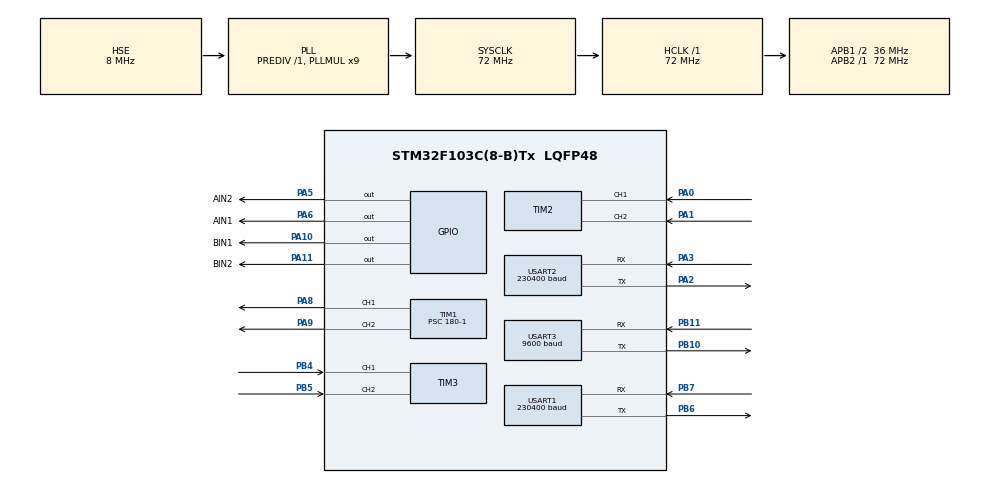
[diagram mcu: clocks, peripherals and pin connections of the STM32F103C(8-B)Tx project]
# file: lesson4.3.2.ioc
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Dma.Request0=USART3_RX
Dma.Request1=USART3_TX
Dma.USART3_RX.0.Direction=DMA_PERIPH_TO_MEMORY
Dma.USART3_RX.0.Instance=DMA1_Channel3
Dma.USART3_RX.0.MemDataAlignment=DMA_MDATAALIGN_BYTE
Dma.USART3_RX.0.MemInc=DMA_MINC_ENABLE
Dma.USART3_RX.0.Mode=DMA_NORMAL
Dma.USART3_RX.0.PeriphDataAlignment=DMA_PDATAALIGN_BYTE
Dma.USART3_RX.0.PeriphInc=DMA_PINC_DISABLE
Dma.USART3_RX.0.Priority=DMA_PRIORITY_LOW
Dma.USART3_TX.1.Direction=DMA_MEMORY_TO_PERIPH
Dma.USART3_TX.1.Instance=DMA1_Channel2
Dma.USART3_TX.1.MemDataAlignment=DMA_MDATAALIGN_BYTE
Dma.USART3_TX.1.MemInc=DMA_MINC_ENABLE
Dma.USART3_TX.1.Mode=DMA_NORMAL
Dma.USART3_TX.1.PeriphDataAlignment=DMA_PDATAALIGN_BYTE
Dma.USART3_TX.1.PeriphInc=DMA_PINC_DISABLE
Dma.USART3_TX.1.Priority=DMA_PRIORITY_LOW
Mcu.Family=STM32F1
Mcu.Name=STM32F103C(8-B)Tx
Mcu.Package=LQFP48
NVIC.DMA1_Channel2_IRQn=true\:0\:0\:false\:false\:true\:false\:true\:true
NVIC.DMA1_Channel3_IRQn=true\:0\:0\:false\:false\:true\:false\:true\:true
NVIC.PriorityGroup=NVIC_PRIORITYGROUP_4
NVIC.TIM1_UP_IRQn=true\:2\:0\:true\:false\:true\:true\:true\:true
NVIC.TIM2_IRQn=true\:2\:0\:true\:false\:true\:true\:true\:true
NVIC.TIM3_IRQn=true\:2\:0\:true\:false\:true\:true\:true\:true
NVIC.USART1_IRQn=true\:1\:0\:true\:false\:true\:true\:true\:true
NVIC.USART2_IRQn=true\:1\:0\:true\:false\:true\:true\:true\:true
NVIC.USART3_IRQn=true\:0\:0\:true\:false\:true\:true\:true\:true
PA0-WKUP.Signal=S_TIM2_CH1_ETR
PA1.Signal=S_TIM2_CH2
PA10.GPIO_Label=BIN1
PA10.Signal=GPIO_Output
PA11.GPIO_Label=BIN2
PA11.Signal=GPIO_Output
PA13.Mode=Serial_Wire
PA13.Signal=SYS_JTMS-SWDIO
PA14.Mode=Serial_Wire
PA14.Signal=SYS_JTCK-SWCLK
PA2.Mode=Asynchronous
PA2.Signal=USART2_TX
PA3.Mode=Asynchronous
PA3.Signal=USART2_RX
PA5.GPIO_Label=AIN2
PA5.Signal=GPIO_Output
PA6.GPIO_Label=AIN1
PA6.Signal=GPIO_Output
PA8.Signal=S_TIM1_CH1
PA9.Signal=S_TIM1_CH2
PB10.GPIO_Speed=GPIO_SPEED_FREQ_MEDIUM
PB10.Mode=Asynchronous
PB10.Signal=USART3_TX
PB11.Mode=Asynchronous
PB11.Signal=USART3_RX
PB4.Signal=S_TIM3_CH1
PB5.Signal=S_TIM3_CH2
PB6.Mode=Asynchronous
PB6.Signal=USART1_TX
PB7.Mode=Asynchronous
PB7.Signal=USART1_RX
PD0-OSC_IN.Mode=HSE-External-Oscillator
PD0-OSC_IN.Signal=RCC_OSC_IN
PD1-OSC_OUT.Mode=HSE-External-Oscillator
PD1-OSC_OUT.Signal=RCC_OSC_OUT
ProjectManager.HeapSize=0x200
ProjectManager.StackSize=0x400
ProjectManager.TargetToolchain=MDK-ARM V5.32
RCC.AHBFreq_Value=72000000
RCC.APB1CLKDivider=RCC_HCLK_DIV2
RCC.APB1Freq_Value=36000000
RCC.APB1TimFreq_Value=72000000
RCC.APB2Freq_Value=72000000
RCC.APB2TimFreq_Value=72000000
RCC.HCLKFreq_Value=72000000
RCC.PLLMUL=RCC_PLL_MUL9
RCC.PLLSourceVirtual=RCC_PLLSOURCE_HSE
RCC.SYSCLKFreq_VALUE=72000000
RCC.SYSCLKSource=RCC_SYSCLKSOURCE_PLLCLK
RCC.USBFreq_Value=72000000
SH.S_TIM1_CH1.0=TIM1_CH1,PWM Generation1 CH1
SH.S_TIM1_CH2.0=TIM1_CH2,PWM Generation2 CH2
SH.S_TIM2_CH1_ETR.0=TIM2_CH1,Encoder_Interface
SH.S_TIM2_CH2.0=TIM2_CH2,Encoder_Interface
SH.S_TIM3_CH1.0=TIM3_CH1,Encoder_Interface
SH.S_TIM3_CH2.0=TIM3_CH2,Encoder_Interface
TIM1.Channel-PWM\ Generation1\ CH1=TIM_CHANNEL_1
TIM1.Channel-PWM\ Generation2\ CH2=TIM_CHANNEL_2
TIM1.Period=1000-1
TIM1.Prescaler=180-1
TIM2.EncoderMode=TIM_ENCODERMODE_TI12
TIM3.EncoderMode=TIM_ENCODERMODE_TI12
USART1.BaudRate=230400
USART1.VirtualMode=VM_ASYNC
USART2.BaudRate=230400
USART2.VirtualMode=VM_ASYNC
USART3.BaudRate=9600
USART3.StopBits=STOPBITS_2
USART3.VirtualMode=VM_ASYNC
VP_TIM1_VS_ClockSourceINT.Mode=Internal
board=custom

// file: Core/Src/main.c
/* USER CODE BEGIN Header */
/**
  ******************************************************************************
  * @file           : main.c
  * @brief          : Main program body
  ******************************************************************************
  * @attention
  *
  * Copyright (c) 2024 STMicroelectronics.
  * All rights reserved.
  *
  * This software is licensed under terms that can be found in the LICENSE file
  * in the root directory of this software component.
  * If no LICENSE file comes with this software, it is provided AS-IS.
  *
  ******************************************************************************
  */
/* USER CODE END Header */
#include "main.h"
#include "dma.h"
#include "tim.h"
#include "usart.h"
#include "gpio.h"

/* USER CODE BEGIN Includes */
#include "stdlib.h"
#include "string.h"
#include "ctype.h"
#include "PID.h"
#include "motor.h"
#include "stp_23l.h"
#include "lidar_processing.h"
/* USER CODE END Includes */

/* USER CODE BEGIN PM */
#define WHEEL_DIAMETER 5.5
#define PI 3.14159265358
/* USER CODE END PM */

/* USER CODE BEGIN PV */

uint8_t tail[4] = {0x00,0x00,0x80,0x7f};
float data[4];
extern int wflag1,wflag2,endflag,startflag,once_transmit_flag,correct_enable;
extern double distance_traveled1,start_position1;
extern double distance_traveled2,start_position2;
uint8_t receive_flag = '0';
uint8_t receiveData[10];
volatile double ref;
volatile static double last_ref = 200.0; // 直接把要用到的距离“上次目标值”设置为场地中心位置
volatile double delta_cm;
double ref1;
motor_data motor1;
motor_data motor2;
double pfdb;
char arr[6];
int rxindex=0;
// 这里是给HAL库使用的单字节接收缓冲
uint8_t stp_Receive_buf1[1];
uint8_t stp_Receive_buf2[1];

/* ------------ 超时机制所需变量 ------------ */
uint8_t timeout_enabled = 0;      // 超时功能开关: 1 = 启用, 0 = 禁用
uint32_t timeout_ticks = 1600;    // 超时时间 (单位: TIM1中断次数) 当前TIM1中断周期为2.5ms，设置为1000就是设置超时时间为5000ms
uint32_t movement_timer = 0;      // 运动计时器
/* ---------------------------------------- */
/* USER CODE END PV */

void SystemClock_Config(void);
/* USER CODE BEGIN PFP */
void Lidar_Process(void);
/* USER CODE END PFP */

/* USER CODE BEGIN 0 */
// === 动态超时估算：由 |距离(cm)| 推算秒数，再换成 ticks ===
static inline uint32_t compute_timeout_ticks_cm(double d_cm, int is_end_phase)
{
    // 线性拟合（来自实测）：t = a + b * |d|
    // a 和 b 来自拟合：a≈1.0，b≈0.01
    double t = 1.0 + 0.01 * (d_cm >= 0 ? d_cm : -d_cm);

    // 最小 / 最大保护
    if (t < 1.0) t = 1.0;        // 不少于 1 秒
    if (t > 10.0) t = 10.0;      // 不超过 60 秒（可按需调大）

    // 末段慢速（指令 'e'）可略调裕量
    double margin = is_end_phase ? 1.10 : 1.20;   // 普通段 1.20，末段 1.10（可按实际再调）
    t *= margin;
		t += 0.3; // 再加0.3秒的冗余

    // 秒 -> tick（TIM1: 2.5ms 一次）= 秒 * 400
    uint32_t ticks = (uint32_t)(t * 400.0 + 0.5);

    // 再次做一下保底与上限钳制
    if (ticks < 400)   ticks = 400;    // ≥ 1s
    if (ticks > 4000) ticks = 4000;  // ≤ 10s
    return ticks;
}

void justfloat_output(){
    data[0]=motor2.motor_pid_v.fdb;
    data[1]=motor2.motor_pid_v.ref;
	  data[2]=motor1.motor_pid_v.fdb;
	  data[3]=motor1.motor_pid_v.ref;

    HAL_UART_Transmit(&huart3,(uint8_t*)data,sizeof(float)*4,0xffff);
    HAL_UART_Transmit(&huart3,tail,4,0xffff);
}
/* USER CODE END 0 */

int main(void)
{

  /* MCU Configuration--------------------------------------------------------*/

  /* Reset of all peripherals, Initializes the Flash interface and the Systick. */
  HAL_Init();

  /* Configure the system clock */
  SystemClock_Config();

  /* Initialize all configured peripherals */
  MX_GPIO_Init();
  MX_DMA_Init();
  MX_TIM1_Init();
  MX_TIM2_Init();
  MX_TIM3_Init();
  MX_USART3_UART_Init();
  MX_USART2_UART_Init();
  MX_USART1_UART_Init();
  /* USER CODE BEGIN 2 */

  // 初始化两个电机的数据结构
  motor_init(htim2,htim1,TIM_CHANNEL_1,&motor1);
  motor_init(htim3,htim1,TIM_CHANNEL_2,&motor2);

  // 启动TIM1作为主控制循环的定时器，并开启中断
  HAL_TIM_Base_Start_IT(&htim1);

  // 启动USART3的DMA接收，使用空闲中断(IDLE)来检测一帧数据的结束
  HAL_UARTEx_ReceiveToIdle_DMA(&huart3,receiveData,10);

	// 在main函数中开启启动接收前先使能 UART 错误中断
  __HAL_UART_ENABLE_IT(&huart1, UART_IT_ERR);
	__HAL_UART_ENABLE_IT(&huart2, UART_IT_ERR);

  // 启动USART1和USART2的单字节中断接收，用于处理LiDAR数据流
  HAL_UART_Receive_IT(&huart1,stp_Receive_buf1,sizeof(stp_Receive_buf1));
  HAL_UART_Receive_IT(&huart2,stp_Receive_buf2,sizeof(stp_Receive_buf2));

   __HAL_UART_ENABLE_IT(&huart3, UART_IT_ERR); //加这一句，使能指令接收dma错误中断

  // 禁用DMA的半传输中断，我们只关心整帧完成和空闲中断
  __HAL_DMA_DISABLE_IT(&hdma_usart3_rx,DMA_IT_HT);

  /* USER CODE END 2 */

  /* Infinite loop */
  /* USER CODE BEGIN WHILE */
  while (1)
  {
		// 2. 在主循环中调用新的处理函数
    Lidar_Process();
		set_motor_direction(&motor1,AIN1_GPIO_Port,AIN1_Pin,AIN2_GPIO_Port,AIN2_Pin);
		set_motor_direction(&motor2,BIN1_GPIO_Port,BIN1_Pin,BIN2_GPIO_Port,BIN2_Pin);
		if(receive_flag =='a'){
			// --- 松开刹车，准备新的移动 ---
			set_motor_hold(&motor1, 0);
			set_motor_hold(&motor2, 0);
			// ---------------------------
			wflag1=1;
			wflag2=1;
			correct_enable=0;
			once_transmit_flag=1;
			movement_timer = 0; //复位计时器
			delta_cm = abs(ref - last_ref);
			timeout_ticks = compute_timeout_ticks_cm(delta_cm, /*is_end_phase=*/0); // 计算动态超时
			ref1=ref/WHEEL_DIAMETER/PI;//ref参数单位为cm
		  set_pidp_ref(&motor1,ref1);
		  set_pidp_ref(&motor2,ref1);
			receiveData[0]='0';
			receive_flag='0';
			startflag = 1;
			start_position1 = distance1/10/WHEEL_DIAMETER/PI;
			start_position2 = distance2/10/WHEEL_DIAMETER/PI;
			last_ref = ref;
		}
		if(receive_flag =='e'){//end
			// --- 松开刹车，准备新的移动 ---
			set_motor_hold(&motor1, 0);
			set_motor_hold(&motor2, 0);
			// ---------------------------
			endflag = 1;
			wflag1=1;
			wflag2=1;
			movement_timer = 0; //复位计时器
			delta_cm = abs(ref - last_ref);
			timeout_ticks = compute_timeout_ticks_cm(delta_cm, /*is_end_phase=*/1); // 计算动态超时
			ref1=ref/WHEEL_DIAMETER/PI;//ref参数单位为cm
		  set_pidp_ref(&motor1,ref1);
		  set_pidp_ref(&motor2,ref1);
			receiveData[0]='0';
			receive_flag='0';
			last_ref = ref;
		}
    /* USER CODE END WHILE */

  }
}

void SystemClock_Config(void)
{
  RCC_OscInitTypeDef RCC_OscInitStruct = {0};
  RCC_ClkInitTypeDef RCC_ClkInitStruct = {0};

  /** Initializes the RCC Oscillators according to the specified parameters
  * in the RCC_OscInitTypeDef structure.
  */
  RCC_OscInitStruct.OscillatorType = RCC_OSCILLATORTYPE_HSE;
  RCC_OscInitStruct.HSEState = RCC_HSE_ON;
  RCC_OscInitStruct.HSEPredivValue = RCC_HSE_PREDIV_DIV1;
  RCC_OscInitStruct.HSIState = RCC_HSI_ON;
  RCC_OscInitStruct.PLL.PLLState = RCC_PLL_ON;
  RCC_OscInitStruct.PLL.PLLSource = RCC_PLLSOURCE_HSE;
  RCC_OscInitStruct.PLL.PLLMUL = RCC_PLL_MUL9;
  if (HAL_RCC_OscConfig(&RCC_OscInitStruct) != HAL_OK)
  {
    Error_Handler();
  }

  /** Initializes the CPU, AHB and APB buses clocks
  */
  RCC_ClkInitStruct.ClockType = RCC_CLOCKTYPE_HCLK|RCC_CLOCKTYPE_SYSCLK
                              |RCC_CLOCKTYPE_PCLK1|RCC_CLOCKTYPE_PCLK2;
  RCC_ClkInitStruct.SYSCLKSource = RCC_SYSCLKSOURCE_PLLCLK;
  RCC_ClkInitStruct.AHBCLKDivider = RCC_SYSCLK_DIV1;
  RCC_ClkInitStruct.APB1CLKDivider = RCC_HCLK_DIV2;
  RCC_ClkInitStruct.APB2CLKDivider = RCC_HCLK_DIV1;

  if (HAL_RCC_ClockConfig(&RCC_ClkInitStruct, FLASH_LATENCY_2) != HAL_OK)
  {
    Error_Handler();
  }
}

/* USER CODE BEGIN 4 */
void HAL_TIM_PeriodElapsedCallback(TIM_HandleTypeDef *htim){
	if(htim==&htim1){
		motor_pid_control();
//		justfloat_output();
	}
}
void HAL_UARTEx_RxEventCallback(UART_HandleTypeDef* huart, uint16_t Size)
{
	if(huart->Instance == USART3)
	{
		// --- 1. 对接收长度进行基础验证 ---
		// 至少需要2个字节 (例如: 'a' + '0') 才能构成一条有效指令
		if (Size < 2)
		{
			// 长度不足，认为是无效数据，直接准备下一次接收
			HAL_UARTEx_ReceiveToIdle_DMA(&huart3, receiveData, 10);
			__HAL_DMA_DISABLE_IT(&hdma_usart3_rx, DMA_IT_HT);
			return;
		}

		// --- 2. 手动添加字符串结束符 '\0' ---
		// 这是解决问题的关键步骤，确保atof等字符串函数不会读到缓冲区里的旧数据
		// Size 是接收到的字节数，所以我们将结束符放在 receiveData[Size] 的位置
        // 同时要防止越界，虽然Size理论上不会超过10
		if (Size < 10)
		{
			receiveData[Size] = '\0';
		}
		else
		{
			receiveData[9] = '\0'; // 缓冲区满了，强制在末尾加结束符
		}

		// --- 3. 解析指令和数据 ---
		char command = receiveData[0]; // 第一个字节是指令

		// 检查是否为我们支持的指令
		if(command == 'a' || command == 'e')
		{
			// 指令有效，才进行后续操作
			// 将指令后的部分 (&receiveData[1]) 转换为浮点数
			double parsed_value = atof((const char *)&receiveData[1]);

			// 更新全局变量，传递指令和目标值
			ref = parsed_value;
			receive_flag = command; // receive_flag现在在主循环中触发电机运动
		}
		// 如果指令不是 'a' 或 'e'，则忽略这条消息，不进行任何操作

		// --- 4. 重新启动DMA空闲中断接收 ---
		// 为下一次数据接收做准备
		HAL_UARTEx_ReceiveToIdle_DMA(&huart3, receiveData, 10);
		__HAL_DMA_DISABLE_IT(&hdma_usart3_rx, DMA_IT_HT);
	}
}

void HAL_UART_RxCpltCallback(UART_HandleTypeDef *huart)
{
    if (huart->Instance == USART1)
    {
        // 将接收到的数据存入环形缓冲区1
        uint16_t next_head = (uart1_rx_buffer.head + 1) % 256;
        if (next_head != uart1_rx_buffer.tail) { // 防止缓冲区写满
            uart1_rx_buffer.buffer[uart1_rx_buffer.head] = stp_Receive_buf1[0];
            uart1_rx_buffer.head = next_head;
        }
        // 立即重新启动中断，准备接收下一个字节
        HAL_UART_Receive_IT(&huart1, stp_Receive_buf1, 1);
    }
    else if (huart->Instance == USART2)
    {
        // 将接收到的数据存入环形缓冲区2
        uint16_t next_head = (uart2_rx_buffer.head + 1) % 256;
        if (next_head != uart2_rx_buffer.tail) { // 防止缓冲区写满
            uart2_rx_buffer.buffer[uart2_rx_buffer.head] = stp_Receive_buf2[0];
            uart2_rx_buffer.head = next_head;
        }
        // 立即重新启动中断，准备接收下一个字节
        HAL_UART_Receive_IT(&huart2, stp_Receive_buf2, 1);
    }
}

// HAL 库的错误回调
void HAL_UART_ErrorCallback(UART_HandleTypeDef *huart)
{
    if (huart->Instance == USART1)
    {
        // 逐个清除错误标志
        __HAL_UART_CLEAR_PEFLAG(huart);
        __HAL_UART_CLEAR_FEFLAG(huart);
        __HAL_UART_CLEAR_NEFLAG(huart);
        __HAL_UART_CLEAR_OREFLAG(huart);

        // 重新打开接收
        HAL_UART_Receive_IT(&huart1, stp_Receive_buf1, sizeof(stp_Receive_buf1)); //需要修改各个参数
    }
		if (huart->Instance == USART2)
    {
        // 逐个清除错误标志
        __HAL_UART_CLEAR_PEFLAG(huart);
        __HAL_UART_CLEAR_FEFLAG(huart);
        __HAL_UART_CLEAR_NEFLAG(huart);
        __HAL_UART_CLEAR_OREFLAG(huart);

        // 重新打开接收
        HAL_UART_Receive_IT(&huart2, stp_Receive_buf2, sizeof(stp_Receive_buf2)); //需要修改各个参数
    }
		if (huart == &huart3)
    {
        uint32_t err = huart->ErrorCode;

        // 清除所有接收相关错误标志
        if (err & HAL_UART_ERROR_ORE) __HAL_UART_CLEAR_OREFLAG(huart);
        if (err & HAL_UART_ERROR_FE)  __HAL_UART_CLEAR_FEFLAG(huart);
        if (err & HAL_UART_ERROR_PE)  __HAL_UART_CLEAR_PEFLAG(huart);
        if (err & HAL_UART_ERROR_NE)  __HAL_UART_CLEAR_NEFLAG(huart);

        // 重启接收
        HAL_UART_DMAStop(huart);
        HAL_UARTEx_ReceiveToIdle_DMA(&huart3, receiveData, sizeof(receiveData));
        __HAL_DMA_DISABLE_IT(&hdma_usart3_rx, DMA_IT_HT);
    }
}

/* USER CODE END 4 */

void Error_Handler(void)
{
  __disable_irq();
  while (1)
  {
  }
}
